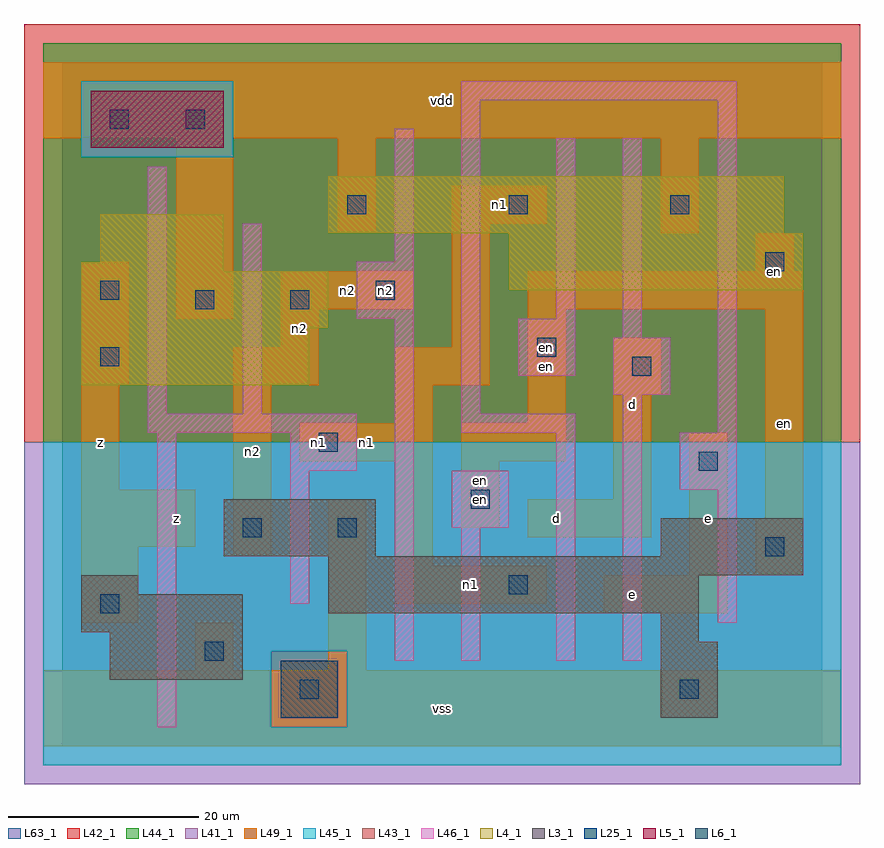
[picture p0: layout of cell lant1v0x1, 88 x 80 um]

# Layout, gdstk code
import gdstk
lib = gdstk.Library(unit=1e-6, precision=1e-09)
def R(c, l, rs):  # rectangles x0, y0, x1, y1
    for r in rs: c.add(gdstk.rectangle(r[:2], r[2:], *l))
def A(c, l, x, y, w, h, nx, ny, dx, dy):  # array of equal rectangles
    R(c, l, [(x+i*dx, y+j*dy, x+i*dx+w, y+j*dy+h) for i in range(nx) for j in range(ny)])
L3_1 = (3, 1)
L4_1 = (4, 1)
L5_1 = (5, 1)
L6_1 = (6, 1)
L25_1 = (25, 1)
L41_1 = (41, 1)
L42_1 = (42, 1)
L43_1 = (43, 1)
L44_1 = (44, 1)
L45_1 = (45, 1)
L46_1 = (46, 1)
L49_1 = (49, 1)
L63_1 = (63, 1)

lant1v0x1 = lib.new_cell('lant1v0x1')
R(lant1v0x1, L3_1, [(63,3,69,11), (5,7,19,12), (63,11,67,14), (2,12,19,16), (28,14,67,18), (2,16,8,18), (28,18,78,20), (17,20,33,26), (63,20,78,24)])
R(lant1v0x1, L4_1, [(2,38,26,44), (2,44,28,50), (47,48,78,54), (2,50,17,51), (4,51,17,56), (28,54,76,60)])
R(lant1v0x1, L5_1, [(3,63,17,69)])
R(lant1v0x1, L6_1, [(23,3,29,9), (23,3,29,9)])
A(lant1v0x1, L25_1, 30, 56, 2, 2, 3, 1, 17, 0)
R(lant1v0x1, L25_1, [(25,5,27,7), (65,5,67,7), (15,9,17,11), (4,14,6,16), (47,16,49,18), (74,20,76,22), (19,22,21,24), (29,22,31,24), (43,25,45,27), (67,29,69,31), (27,31,29,33), (60,39,62,41), (4,40,6,42), (50,41,52,43), (14,46,16,48), (24,46,26,48), (4,47,6,49), (33,47,35,49), (74,50,76,52), (5,65,7,67), (13,65,15,67)])
R(lant1v0x1, L41_1, [(-4,-4,84,32)])
R(lant1v0x1, L42_1, [(-4,32,84,76)])
R(lant1v0x1, L43_1, [(23,3,29,9), (63,3,69,11), (5,7,19,12), (63,11,67,14), (2,12,19,16), (28,14,67,18), (2,16,8,18), (28,18,78,20), (17,20,33,26), (63,20,78,24), (2,38,26,44), (2,44,28,50), (47,48,78,54), (2,50,17,51), (4,51,17,56), (28,54,76,60), (3,63,17,69)])
R(lant1v0x1, L44_1, [(22,2,30,10), (-2,32,82,62), (-2,62,2,70), (18,62,82,70), (-2,70,82,74)])
R(lant1v0x1, L45_1, [(-2,-2,82,2), (-2,2,22,10), (30,2,82,10), (-2,10,82,32), (2,62,18,70)])
R(lant1v0x1, L46_1, [(10,2,12,33), (35,9,37,45), (42,9,44,23), (52,9,54,33), (59,9,61,37), (69,13,71,27), (24,15,26,29), (41,23,47,29), (65,27,71,33), (24,29,31,33), (9,33,31,35), (42,33,54,35), (69,33,71,68), (9,35,11,61), (19,35,21,55), (42,35,44,68), (58,37,64,43), (48,39,54,45), (59,43,61,64), (31,45,37,51), (52,45,54,64), (35,51,37,65), (42,68,71,70)])
R(lant1v0x1, L49_1, [(-2,0,82,8), (14,8,18,13), (28,8,32,26), (2,13,8,21), (57,14,70,18), (35,15,51,19), (66,18,70,33), (73,18,78,24), (35,19,39,30), (18,20,22,38), (2,21,14,27), (49,22,62,26), (42,23,46,30), (74,24,78,46), (58,26,62,37), (2,27,6,38), (25,30,39,34), (42,30,53,34), (35,34,39,38), (49,34,53,46), (58,37,63,43), (2,38,7,51), (18,38,27,42), (35,38,45,42), (23,42,27,46), (41,42,45,55), (12,45,18,64), (23,46,37,50), (49,46,78,50), (73,50,77,54), (29,54,33,64), (63,54,67,64), (41,55,51,59), (-2,64,82,72)])
R(lant1v0x1, L63_1, [(0,0,80,72)])
lant1v0x1.add(gdstk.Label('en', (44,26), layer=49, texttype=1))
lant1v0x1.add(gdstk.Label('n1', (27,32), layer=49, texttype=1))
lant1v0x1.add(gdstk.Label('n2', (34,48), layer=49, texttype=1))
lant1v0x1.add(gdstk.Label('en', (51,42), layer=49, texttype=1))
lant1v0x1.add(gdstk.Label('z', (4,32), layer=49, texttype=1))
lant1v0x1.add(gdstk.Label('z', (12,24), layer=49, texttype=1))
lant1v0x1.add(gdstk.Label('n1', (32,32), layer=49, texttype=1))
lant1v0x1.add(gdstk.Label('n2', (25,44), layer=49, texttype=1))
lant1v0x1.add(gdstk.Label('n2', (20,31), layer=49, texttype=1))
lant1v0x1.add(gdstk.Label('n2', (30,48), layer=49, texttype=1))
lant1v0x1.add(gdstk.Label('vss', (40,4), layer=49, texttype=1))
lant1v0x1.add(gdstk.Label('n1', (43,17), layer=49, texttype=1))
lant1v0x1.add(gdstk.Label('en', (44,28), layer=49, texttype=1))
lant1v0x1.add(gdstk.Label('d', (52,24), layer=49, texttype=1))
lant1v0x1.add(gdstk.Label('en', (51,40), layer=49, texttype=1))
lant1v0x1.add(gdstk.Label('n1', (46,57), layer=49, texttype=1))
lant1v0x1.add(gdstk.Label('vdd', (40,68), layer=49, texttype=1))
lant1v0x1.add(gdstk.Label('e', (60,16), layer=49, texttype=1))
lant1v0x1.add(gdstk.Label('e', (68,24), layer=49, texttype=1))
lant1v0x1.add(gdstk.Label('d', (60,36), layer=49, texttype=1))
lant1v0x1.add(gdstk.Label('en', (76,34), layer=49, texttype=1))
lant1v0x1.add(gdstk.Label('en', (75,50), layer=49, texttype=1))

lib.write_gds('lant1v0x1.gds')
